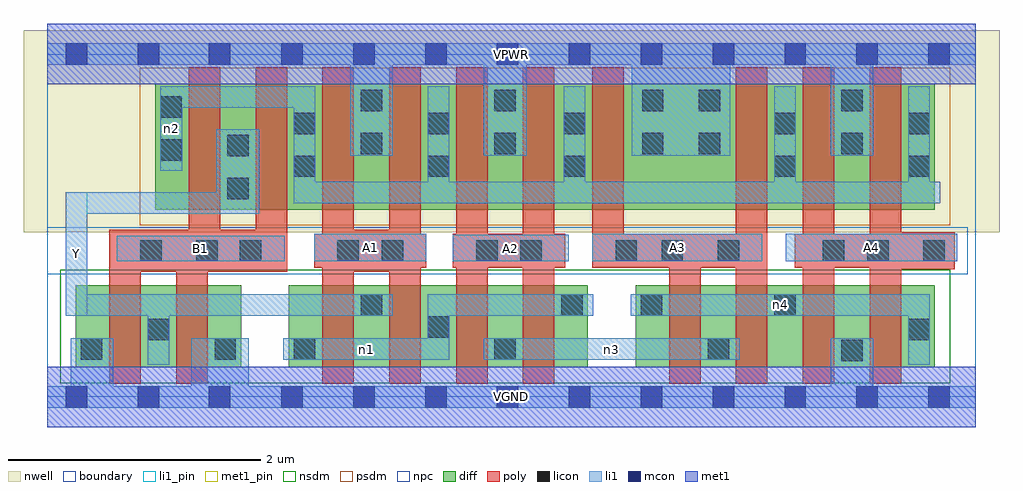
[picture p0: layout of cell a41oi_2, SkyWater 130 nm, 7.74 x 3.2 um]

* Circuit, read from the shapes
.subckt a41oi_2 A1 A2 A3 A4 B1 VGND VPWR Y n1 n2 n3 n4
XM1 Y B1 VGND VSUBS sky130_fd_pr__nfet_01v8 w=0.65 l=0.25 m=2
XM2 Y A1 n1 VSUBS sky130_fd_pr__nfet_01v8 w=0.65 l=0.25 m=2
XM3 n3 A2 n1 VSUBS sky130_fd_pr__nfet_01v8 w=0.65 l=0.25 m=2
XM4 n3 A3 n4 VSUBS sky130_fd_pr__nfet_01v8 w=0.65 l=0.25 m=2
XM5 VGND A4 n4 VSUBS sky130_fd_pr__nfet_01v8 w=0.65 l=0.25 m=2
XM6 Y B1 n2 n5 sky130_fd_pr__pfet_01v8 w=1 l=0.25 m=2
XM7 VPWR A1 n2 n5 sky130_fd_pr__pfet_01v8 w=1 l=0.25 m=2
XM8 VPWR A2 n2 n5 sky130_fd_pr__pfet_01v8 w=1 l=0.25 m=2
XM9 VPWR A3 n2 n5 sky130_fd_pr__pfet_01v8 w=1 l=0.25 m=2
XM10 VPWR A4 n2 n5 sky130_fd_pr__pfet_01v8 w=1 l=0.25 m=2
.ends

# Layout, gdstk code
import gdstk
lib = gdstk.Library(unit=1e-6, precision=1e-09)
def R(c, l, rs):  # rectangles x0, y0, x1, y1
    for r in rs: c.add(gdstk.rectangle(r[:2], r[2:], *l))
def A(c, l, x, y, w, h, nx, ny, dx, dy):  # array of equal rectangles
    R(c, l, [(x+i*dx, y+j*dy, x+i*dx+w, y+j*dy+h) for i in range(nx) for j in range(ny)])
nwell = (64, 20)
diff = (65, 20)
poly = (66, 20)
licon = (66, 44)
li1_pin = (67, 16)
li1 = (67, 20)
mcon = (67, 44)
met1_pin = (68, 16)
met1 = (68, 20)
nsdm = (93, 44)
psdm = (94, 20)
npc = (95, 20)
boundary = (235, 4)

a41oi_2 = lib.new_cell('a41oi_2')
R(a41oi_2, nwell, [(-0.19,1.305,7.55,2.91), (0,1.305,7.36,2.91)])
R(a41oi_2, diff, [(0.225,0.235,1.535,0.885), (1.915,0.235,4.285,0.885), (4.665,0.235,7.035,0.885), (0.855,1.485,7.035,2.485)])
A(a41oi_2, poly, 2.18, 0.105, 0.25, 2.51, 4, 1, 0.53, 0)
A(a41oi_2, poly, 5.46, 0.105, 0.25, 2.51, 3, 1, 0.53, 0)
R(a41oi_2, poly, [(0.49,0.105,0.74,1.325), (1.02,0.105,1.27,1.325), (4.93,0.105,5.18,1.295), (0.49,0.995,1.9,1.325), (1.12,0.995,1.37,2.615), (1.65,0.995,1.9,2.615), (2.18,0.995,2.96,1.325), (6.52,1.015,7.195,1.305), (2.115,1.025,3.005,1.295), (3.215,1.025,4.105,1.295), (4.32,1.025,5.71,1.295), (4.32,1.025,4.57,2.615), (5.925,1.025,7.195,1.295)])
R(a41oi_2, licon, [(6.295,0.285,6.465,0.455), (0.265,0.295,0.435,0.465), (1.325,0.295,1.495,0.465), (1.955,0.295,2.125,0.465), (3.545,0.295,3.715,0.465), (5.235,0.295,5.405,0.465), (0.795,0.45,0.965,0.62), (6.825,0.45,6.995,0.62), (3.015,0.47,3.185,0.64), (2.485,0.645,2.655,0.815), (4.075,0.645,4.245,0.815), (4.705,0.645,4.875,0.815), (5.765,0.645,5.935,0.815), (0.735,1.075,0.905,1.245), (1.18,1.075,1.35,1.245), (1.525,1.075,1.695,1.245), (2.3,1.075,2.47,1.245), (2.65,1.075,2.82,1.245), (3.4,1.075,3.57,1.245), (3.75,1.075,3.92,1.245), (4.505,1.075,4.675,1.245), (4.87,1.075,5.04,1.245), (5.315,1.075,5.485,1.245), (6.15,1.075,6.32,1.245), (6.5,1.075,6.67,1.245), (6.945,1.075,7.115,1.245), (1.425,1.57,1.595,1.74), (1.955,1.745,2.125,1.915), (3.015,1.745,3.185,1.915), (4.095,1.745,4.265,1.915), (5.765,1.745,5.935,1.915), (6.825,1.745,6.995,1.915), (0.895,1.875,1.065,2.045), (1.425,1.91,1.595,2.08), (2.485,1.925,2.655,2.095), (3.545,1.925,3.715,2.095), (4.715,1.925,4.885,2.095), (5.165,1.925,5.335,2.095), (6.295,1.925,6.465,2.095), (1.955,2.085,2.125,2.255), (3.015,2.085,3.185,2.255), (4.095,2.085,4.265,2.255), (5.765,2.085,5.935,2.255), (6.825,2.085,6.995,2.255), (0.895,2.215,1.065,2.385), (2.485,2.265,2.655,2.435), (3.545,2.265,3.715,2.435), (4.715,2.265,4.885,2.435), (5.165,2.265,5.335,2.435), (6.295,2.265,6.465,2.435)])
R(a41oi_2, li1_pin, [(0.145,0.645,0.315,1.625), (0.55,1.075,1.88,1.28), (2.115,1.075,3.005,1.295), (3.215,1.075,4.135,1.285), (4.32,1.075,5.67,1.295), (5.855,1.075,7.215,1.295)])
R(a41oi_2, li1, [(0,-0.085,7.36,0.085), (0.185,-0.085,0.52,0.465), (1.14,-0.085,1.595,0.465), (6.21,-0.085,6.55,0.465), (0.795,0.255,0.965,0.815), (6.825,0.255,6.995,0.815), (1.87,0.295,3.185,0.465), (3.015,0.295,3.185,0.815), (3.46,0.295,5.49,0.465), (0.145,0.645,2.74,0.815), (0.145,0.645,0.315,1.625), (3.015,0.645,4.33,0.815), (4.625,0.645,6.995,0.815), (0.55,1.075,1.88,1.28), (2.115,1.075,3.005,1.295), (3.215,1.075,4.135,1.285), (4.32,1.075,5.67,1.295), (5.855,1.075,7.215,1.295), (0.145,1.455,1.68,1.625), (1.34,1.455,1.68,2.125), (1.955,1.535,7.08,1.705), (1.955,1.535,2.125,2.465), (3.015,1.535,3.185,2.465), (4.095,1.535,4.265,2.465), (5.765,1.535,5.935,2.465), (6.825,1.535,6.995,2.465), (0.895,1.795,1.07,2.465), (2.4,1.915,2.74,2.805), (3.46,1.915,3.8,2.805), (4.635,1.915,5.415,2.805), (6.21,1.915,6.55,2.805), (0.895,2.295,2.125,2.465), (0,2.635,7.36,2.805)])
A(a41oi_2, mcon, 1.855, -0.085, 0.17, 0.17, 10, 2, 0.57, 2.72)
R(a41oi_2, mcon, [(0.145,-0.085,0.315,0.085), (0.715,-0.085,0.885,0.085), (1.28,-0.085,1.45,0.085), (0.145,2.635,0.315,2.805), (0.715,2.635,0.885,2.805), (1.28,2.635,1.45,2.805)])
R(a41oi_2, met1_pin, [(0,-0.24,7.36,0.24), (0,2.48,7.36,2.96)])
R(a41oi_2, met1, [(0,-0.24,7.36,0.24), (0,2.48,7.36,2.96)])
R(a41oi_2, nsdm, [(0.1,0.11,7.16,1.01)])
R(a41oi_2, psdm, [(0.73,1.36,7.16,2.61)])
R(a41oi_2, npc, [(0,0.975,7.3,1.345)])
R(a41oi_2, boundary, [(0,0,7.36,2.72)])
a41oi_2.add(gdstk.Label('A1', (2.56,1.185), layer=67, texttype=5))
a41oi_2.add(gdstk.Label('A2', (3.675,1.18), layer=67, texttype=5))
a41oi_2.add(gdstk.Label('A3', (4.995,1.185), layer=67, texttype=5))
a41oi_2.add(gdstk.Label('A4', (6.535,1.185), layer=67, texttype=5))
a41oi_2.add(gdstk.Label('B1', (1.215,1.177), layer=67, texttype=5))
a41oi_2.add(gdstk.Label('Y', (0.23,1.135), layer=67, texttype=5))
a41oi_2.add(gdstk.Label('n3', (4.475,0.38), layer=67, texttype=5))
a41oi_2.add(gdstk.Label('n1', (2.527,0.38), layer=67, texttype=5))
a41oi_2.add(gdstk.Label('n4', (5.81,0.73), layer=67, texttype=5))
a41oi_2.add(gdstk.Label('n2', (0.982,2.13), layer=67, texttype=5))
a41oi_2.add(gdstk.Label('VPWR', (3.68,2.72), layer=68, texttype=5))
a41oi_2.add(gdstk.Label('VGND', (3.68,0), layer=68, texttype=5))
a41oi_2.add(gdstk.Label('A1', (2.56,1.185), layer=67, texttype=16))
a41oi_2.add(gdstk.Label('A2', (3.675,1.18), layer=67, texttype=16))
a41oi_2.add(gdstk.Label('A3', (4.995,1.185), layer=67, texttype=16))
a41oi_2.add(gdstk.Label('A4', (6.535,1.185), layer=67, texttype=16))
a41oi_2.add(gdstk.Label('B1', (1.215,1.177), layer=67, texttype=16))
a41oi_2.add(gdstk.Label('Y', (0.23,1.135), layer=67, texttype=16))
a41oi_2.add(gdstk.Label('VPWR', (3.68,2.72), layer=68, texttype=16))
a41oi_2.add(gdstk.Label('VGND', (3.68,0), layer=68, texttype=16))

lib.write_gds('a41oi_2.gds')
